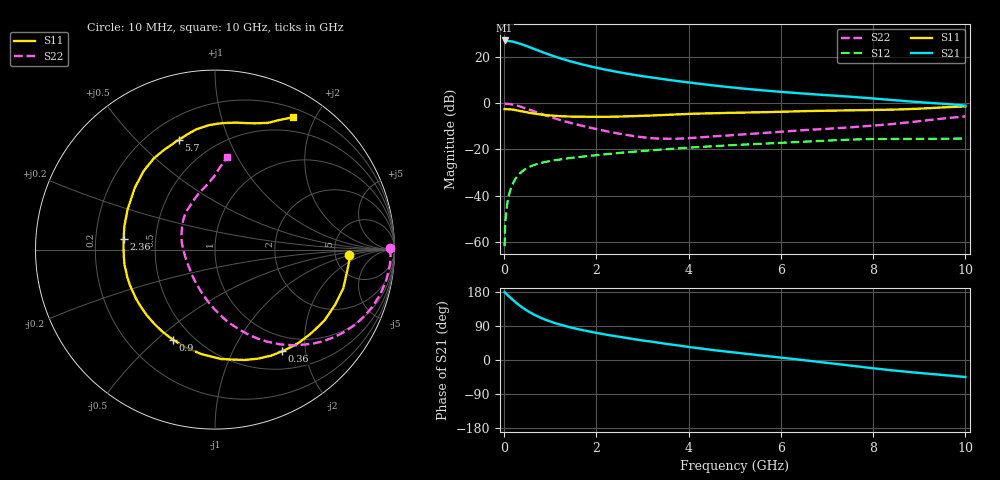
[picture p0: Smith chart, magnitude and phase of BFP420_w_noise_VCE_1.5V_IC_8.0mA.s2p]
! Infineon Technologies  Discrete & RF Semiconductors
! BFP420
! VCE =  1.5 V,  IC =  8.0 mA
! Common Emitter S-Parameters:  Jan 2016
# GHz  S  MA  R  50
!  f  S11  S21  S12  S22
! GHz  MAG  ANG  MAG  ANG  MAG  ANG  MAG  ANG
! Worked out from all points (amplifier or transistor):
!   233 points, 10 MHz to 10 GHz, reference 50 ohm
!   highest |S21| = 27.3 dB at 10 MHz (marker M1)
!   |S21| within 3 dB of that: start of sweep to 560 MHz
!   unconditionally stable (mu >= 1): 2.515 GHz to end of sweep
!   at 200 MHz: K = 0.11, MSG = 30.5 dB, |S12| = -34.3 dB
!   at 1.74 GHz: K = 0.77, MSG = 19.8 dB, |S12| = -23.0 dB
!   at 10 GHz: K = 1.09, MAG = 5.3 dB, |S12| = -15.3 dB
!   lowest NFmin = 0.79 dB at 900 MHz
!   S11 on the Smith chart (normalised r, x): 10 MHz: 6.87, -0.90; 360 MHz: 0.76, -1.59; 900 MHz: 0.39, -0.57; 2.36 GHz: 0.32, +0.05; 5.7 GHz: 0.32, +0.67; 10 GHz: 0.31, +1.71
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0.01  0.7497 -2.2  23.06 179.3  0.0008 96.7  0.9732 0.4
0.02  0.7527 -3.5  22.54 177.8  0.002 89.2  0.9791 -1.9
0.06  0.7456 -9.9  22.51 173.0  0.0059 85.1  0.9759 -6.0
0.1  0.7466 -16.7  22.46 168.5  0.0099 81.8  0.9696 -10.1
0.2  0.7266 -32.7  21.57 157.4  0.0192 74.5  0.9335 -19.9
0.3  0.6982 -48.1  20.26 147.1  0.0273 67.6  0.8809 -28.8
0.36  0.679 -56.6  19.37 141.5  0.0314 63.8  0.8444 -33.7
0.46  0.6488 -69.9  17.84 133.0  0.0375 58.5  0.7817 -41.1
0.6  0.6111 -86.6  15.77 122.6  0.0442 52.6  0.6966 -50.0
0.78  0.5718 -104.5  13.42 112.0  0.0505 47.1  0.6006 -59.3
0.9  0.5544 -114.9  12.11 105.9  0.0538 44.4  0.5464 -64.7
1  0.5429 -122.8  11.17 101.4  0.0563 42.6  0.5063 -68.8
1.2  0.5273 -136.3  9.571 93.7  0.0606 40.0  0.4389 -76.2
1.42  0.5174 -148.8  8.225 86.6  0.0649 37.9  0.381 -83.4
1.68  0.5122 -161.3  7.016 79.3  0.0695 36.0  0.3269 -91.4
2.36  0.5125 173.2  4.987 63.8  0.0816 32.2  0.2324 -112.7
3.4  0.5566 144.9  3.39 44.7  0.0993 26.3  0.1713 -154.1
5.1  0.6256 116.0  2.125 18.3  0.1261 14.9  0.209 152.9
5.7  0.6442 108.2  1.874 10.3  0.1347 10.9  0.2309 141.3
6.8  0.6864 95.4  1.548 -4.7  0.1522 2.6  0.2726 123.2
8.4  0.729 75.0  1.18 -27.2  0.1687 -13.3  0.3544 98.8
10  0.8561 59.4  0.891 -44.9  0.1724 -24.3  0.5193 82.5
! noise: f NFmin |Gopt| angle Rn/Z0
0.9  0.79  0.08  30  0.13
1.8  1.14  0.06  171  0.12
2.4  1.24  0.1  160  0.13
3  1.32  0.17  -165  0.12
4  1.46  0.32  -132  0.14
5  1.85  0.39  -110  0.25
6  2.3  0.46  -95  0.37
